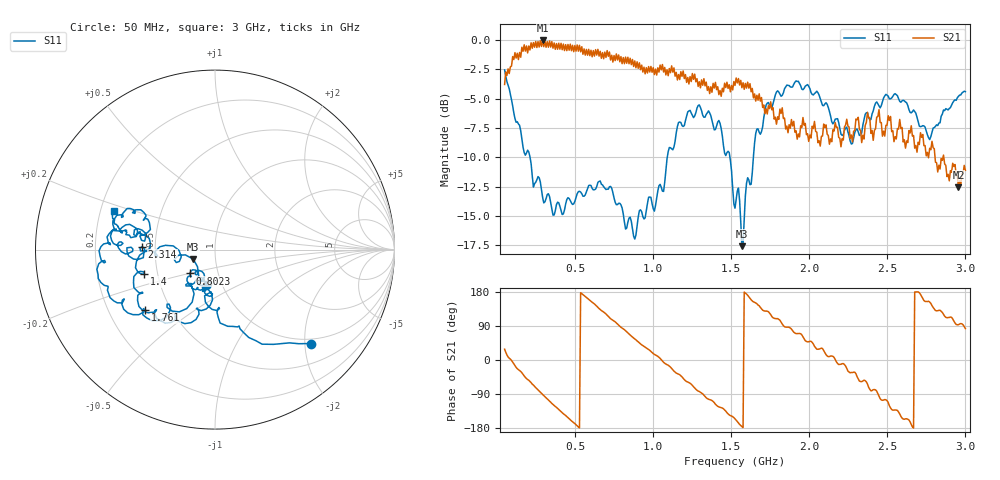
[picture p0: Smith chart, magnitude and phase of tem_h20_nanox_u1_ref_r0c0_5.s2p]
! nanovna_capture.py 2026-10-26T21:22:02+0900
! NanoVNA-F_V2 fw 0.6.0 SN 4A3639384505514B
! cal: load open short thru cal'ed  over 50000000-3000000000 Hz, 201 points
! points 401, avg 4
! TEM h=20, genuine Nano X, flat back down, 0 deg, centred, placement 5 (second re-check)
# HZ S RI R 50
! S12 and S22 are not measured (written as 0)
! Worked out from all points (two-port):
!   401 points, 50 MHz to 3 GHz, reference 50 ohm
!   highest |S21| = -0.03 dB at 293.4 MHz (marker M1); lowest = -12.5 dB at 2.956 GHz (marker M2)
!   |S21| within 3 dB of the highest: 55.22 MHz to 1.097 GHz (1.042 GHz wide, 181 % of centre); 1.097 GHz to 1.141 GHz (43.71 MHz wide, 3.91 % of centre) (the widest 2 of 9)
!   lowest |S11| = -17.6 dB at 1.569 GHz (marker M3), VSWR 1.31, Z = 39 - j4.2 ohm
!   |S11| at or under -10 dB: 212.9 MHz to 1.091 GHz (878.3 MHz wide, 135 % of centre); 1.493 GHz to 1.643 GHz (149.9 MHz wide, 9.56 % of centre)
!   S12 and S22 are empty: the file has one direction only
!   S11 on the Smith chart (normalised r, x): 50 MHz: 0.90, -2.12; 802.2 MHz: 0.73, -0.20; 1.4 GHz: 0.42, -0.14; 1.761 GHz: 0.36, -0.33; 2.314 GHz: 0.42, +0.02; 3 GHz: 0.26, +0.17
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5e7  0.5322 -0.5233  0.5689 0.3078  0 0  0 0
1.01625e8  0.1881 -0.4897  0.8467 -0.0821  0 0  0 0
1.60625e8  0.0181 -0.3776  0.7761 -0.5157  0 0  0 0
2.93375e8  -0.0531 -0.207  -0.0169 -0.9962  0 0  0 0
4.26125e8  -0.0267 -0.1797  -0.7565 -0.5938  0 0  0 0
5.44125e8  -0.07 -0.2102  -0.9333 0.08  0 0  0 0
7.06375e8  -0.1337 -0.1892  -0.4293 0.7932  0 0  0 0
8.0225e8  -0.1396 -0.1327  0.0808 0.7893  0 0  0 0
9.12875e8  -0.0762 -0.1715  0.5655 0.5655  0 0  0 0
1.03825e9  -0.0582 -0.2324  0.7244 0.0915  0 0  0 0
1.207875e9  -0.2247 -0.3946  0.4125 -0.5812  0 0  0 0
1.399625e9  -0.3935 -0.1348  -0.2966 -0.5901  0 0  0 0
1.525e9  -0.1878 -0.0404  -0.5821 -0.2685  0 0  0 0
1.56925e9  -0.1213 -0.0529  -0.6251 -0.0433  0 0  0 0
1.665125e9  -0.2392 -0.3426  -0.4957 0.3049  0 0  0 0
1.761e9  -0.3897 -0.338  -0.2094 0.459  0 0  0 0
2.019125e9  -0.5858 0.0371  0.2951 0.3121  0 0  0 0
2.314125e9  -0.4057 0.0164  0.3019 -0.3587  0 0  0 0
2.51325e9  -0.5509 0.1103  -0.2322 -0.3906  0 0  0 0
2.712375e9  -0.3848 0.1861  -0.4001 0.0468  0 0  0 0
2.95575e9  -0.5583 0.1424  -0.0127 0.2359  0 0  0 0
3e9  -0.5638 0.2142  0.0351 0.2766  0 0  0 0
